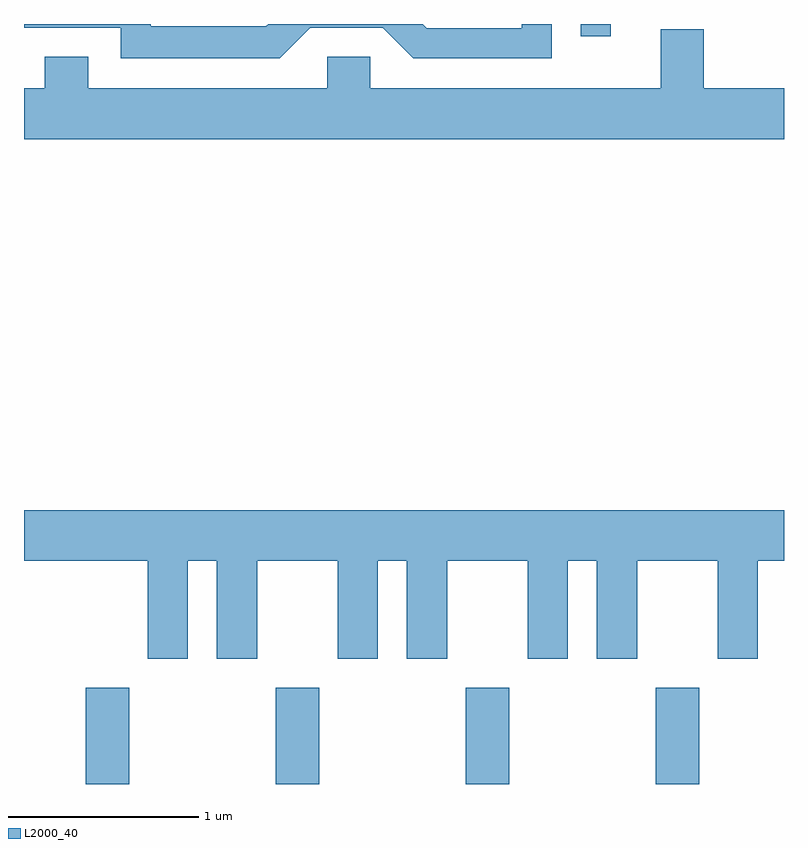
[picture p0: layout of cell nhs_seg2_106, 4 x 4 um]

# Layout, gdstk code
import gdstk
lib = gdstk.Library(unit=1e-6, precision=1e-09)
def R(c, l, rs):  # rectangles x0, y0, x1, y1
    for r in rs: c.add(gdstk.rectangle(r[:2], r[2:], *l))
def A(c, l, x, y, w, h, nx, ny, dx, dy):  # array of equal rectangles
    R(c, l, [(x+i*dx, y+j*dy, x+i*dx+w, y+j*dy+h) for i in range(nx) for j in range(ny)])
def P(c, l, *ps):  # polygons
    for p in ps: c.add(gdstk.Polygon(p, *l))
L2000_40 = (2000, 40)

nhs_seg2_106 = lib.new_cell('nhs_seg2_106')
A(nhs_seg2_106, L2000_40, 187.936, 1053.802, 0.228, 0.507, 4, 1, 1, 0)
R(nhs_seg2_106, L2000_40, [(190.541,1057.738,190.699,1057.802)])
P(nhs_seg2_106, L2000_40, [(189.117,1057.781),(189.499,1057.781),(189.659,1057.621),(190.389,1057.621),(190.389,1057.802),(190.231,1057.802),(190.231,1057.779),(189.732,1057.779),(189.709,1057.802),(188.897,1057.802),(188.884,1057.789),(188.279,1057.789),(188.279,1057.802),(187.611,1057.802),(187.611,1057.781),(188.121,1057.781),(188.121,1057.621),(188.957,1057.621)],
  [(191.611,1057.464),(191.189,1057.464),(191.189,1057.774),(190.961,1057.774),(190.961,1057.464),(189.434,1057.464),(189.434,1057.629),(189.206,1057.629),(189.206,1057.464),(187.949,1057.464),(187.949,1057.629),(187.721,1057.629),(187.721,1057.464),(187.611,1057.464),(187.611,1057.196),(191.611,1057.196)],
  [(188.474,1054.976),(188.626,1054.976),(188.626,1054.461),(188.839,1054.461),(188.839,1054.976),(189.261,1054.976),(189.261,1054.461),(189.474,1054.461),(189.474,1054.976),(189.626,1054.976),(189.626,1054.461),(189.839,1054.461),(189.839,1054.976),(190.261,1054.976),(190.261,1054.461),(190.474,1054.461),(190.474,1054.976),(190.626,1054.976),(190.626,1054.461),(190.839,1054.461),(190.839,1054.976),(191.261,1054.976),(191.261,1054.461),(191.474,1054.461),(191.474,1054.976),(191.611,1054.976),(191.611,1055.244),(187.611,1055.244),(187.611,1054.976),(188.261,1054.976),(188.261,1054.461),(188.474,1054.461)])

lib.write_gds('nhs_seg2_106.gds')
